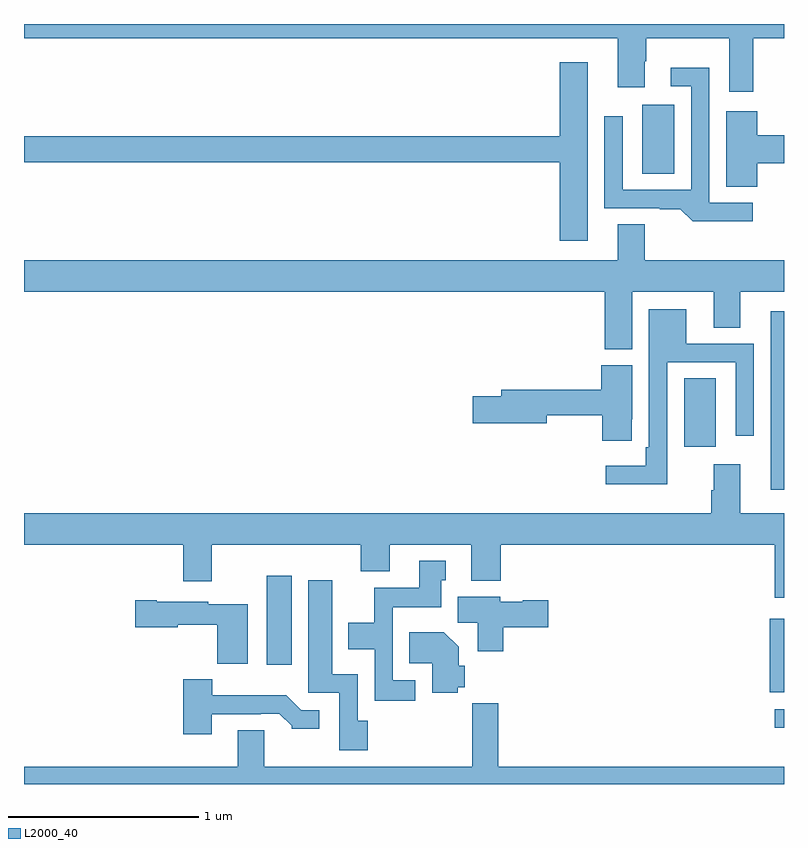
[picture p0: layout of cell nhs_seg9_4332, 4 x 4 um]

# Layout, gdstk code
import gdstk
lib = gdstk.Library(unit=1e-6, precision=1e-09)
def R(c, l, rs):  # rectangles x0, y0, x1, y1
    for r in rs: c.add(gdstk.rectangle(r[:2], r[2:], *l))
def P(c, l, *ps):  # polygons
    for p in ps: c.add(gdstk.Polygon(p, *l))
L2000_40 = (2000, 40)

nhs_seg9_4332 = lib.new_cell('nhs_seg9_4332')
R(nhs_seg9_4332, L2000_40, [(362.952,1188.797,363,1188.894), (362.924,1188.983,363,1189.369), (360.278,1189.128,360.409,1189.597), (362.93,1190.049,363,1190.989), (362.474,1190.274,362.641,1190.636), (362.255,1191.712,362.422,1192.075)])
P(nhs_seg9_4332, L2000_40, [(362.837,1192.424),(363,1192.424),(363,1192.5),(359,1192.5),(359,1192.424),(362.126,1192.424),(362.126,1192.167),(362.266,1192.167),(362.266,1192.304),(362.274,1192.304),(362.274,1192.424),(362.711,1192.424),(362.711,1192.143),(362.837,1192.143)],
  [(361.966,1192.3),(361.82,1192.3),(361.82,1191.908),(359,1191.908),(359,1191.772),(361.82,1191.772),(361.82,1191.36),(361.966,1191.36)],
  [(362.836,1191.558),(362.607,1191.558),(362.607,1192.27),(362.403,1192.27),(362.403,1192.173),(362.511,1192.173),(362.511,1191.627),(362.151,1191.627),(362.151,1192.015),(362.055,1192.015),(362.055,1191.531),(362.345,1191.531),(362.345,1191.526),(362.453,1191.526),(362.519,1191.461),(362.836,1191.461)],
  [(362.858,1191.767),(363,1191.767),(363,1191.914),(362.858,1191.914),(362.858,1192.042),(362.696,1192.042),(362.696,1191.643),(362.858,1191.643)],
  [(362.2,1191.092),(362.63,1191.092),(362.63,1190.902),(362.77,1190.902),(362.77,1191.092),(363,1191.092),(363,1191.256),(362.266,1191.256),(362.266,1191.446),(362.126,1191.446),(362.126,1191.256),(359,1191.256),(359,1191.092),(362.057,1191.092),(362.057,1190.788),(362.2,1190.788)],
  [(362.385,1190.721),(362.745,1190.721),(362.745,1190.334),(362.841,1190.334),(362.841,1190.817),(362.485,1190.817),(362.485,1190.998),(362.289,1190.998),(362.289,1190.272),(362.273,1190.272),(362.273,1190.176),(362.061,1190.176),(362.061,1190.078),(362.385,1190.078)],
  [(362.199,1190.419),(362.2,1190.419),(362.2,1190.703),(362.039,1190.703),(362.039,1190.576),(361.511,1190.576),(361.511,1190.54),(361.362,1190.54),(361.362,1190.398),(361.75,1190.398),(361.75,1190.44),(362.044,1190.44),(362.044,1190.307),(362.199,1190.307)],
  [(363,1189.924),(362.77,1189.924),(362.77,1190.182),(362.63,1190.182),(362.63,1190.045),(362.618,1190.045),(362.618,1189.924),(359,1189.924),(359,1189.76),(359.837,1189.76),(359.837,1189.566),(359.989,1189.566),(359.989,1189.76),(360.773,1189.76),(360.773,1189.619),(360.925,1189.619),(360.925,1189.76),(361.355,1189.76),(361.355,1189.571),(361.508,1189.571),(361.508,1189.76),(362.951,1189.76),(362.951,1189.479),(363,1189.479)],
  [(361.06,1189.047),(360.942,1189.047),(360.942,1189.43),(361.195,1189.43),(361.195,1189.572),(361.219,1189.572),(361.219,1189.675),(361.079,1189.675),(361.079,1189.534),(360.844,1189.534),(360.844,1189.348),(360.707,1189.348),(360.707,1189.208),(360.846,1189.208),(360.846,1188.939),(361.06,1188.939)],
  [(360.809,1188.834),(360.756,1188.834),(360.756,1189.078),(360.622,1189.078),(360.622,1189.573),(360.497,1189.573),(360.497,1188.981),(360.66,1188.981),(360.66,1188.678),(360.809,1188.678)],
  [(361.523,1189.325),(361.759,1189.325),(361.759,1189.467),(361.626,1189.467),(361.626,1189.459),(361.506,1189.459),(361.506,1189.486),(361.283,1189.486),(361.283,1189.348),(361.388,1189.348),(361.388,1189.2),(361.523,1189.2)],
  [(360.178,1189.447),(359.97,1189.447),(359.97,1189.459),(359.698,1189.459),(359.698,1189.467),(359.586,1189.467),(359.586,1189.325),(359.808,1189.325),(359.808,1189.337),(360.016,1189.337),(360.016,1189.133),(360.178,1189.133)],
  [(361.284,1189.008),(361.319,1189.008),(361.319,1189.122),(361.288,1189.122),(361.288,1189.222),(361.21,1189.3),(361.027,1189.3),(361.027,1189.136),(361.148,1189.136),(361.148,1188.979),(361.284,1188.979)],
  [(359.989,1188.867),(360.245,1188.867),(360.245,1188.87),(360.344,1188.87),(360.408,1188.806),(360.408,1188.791),(360.553,1188.791),(360.553,1188.888),(360.459,1188.888),(360.381,1188.967),(359.992,1188.967),(359.992,1189.051),(359.837,1189.051),(359.837,1188.762),(359.989,1188.762)],
  [(363,1188.592),(361.496,1188.592),(361.496,1188.925),(361.36,1188.925),(361.36,1188.592),(360.265,1188.592),(360.265,1188.782),(360.125,1188.782),(360.125,1188.592),(359,1188.592),(359,1188.5),(363,1188.5)])

lib.write_gds('nhs_seg9_4332.gds')
